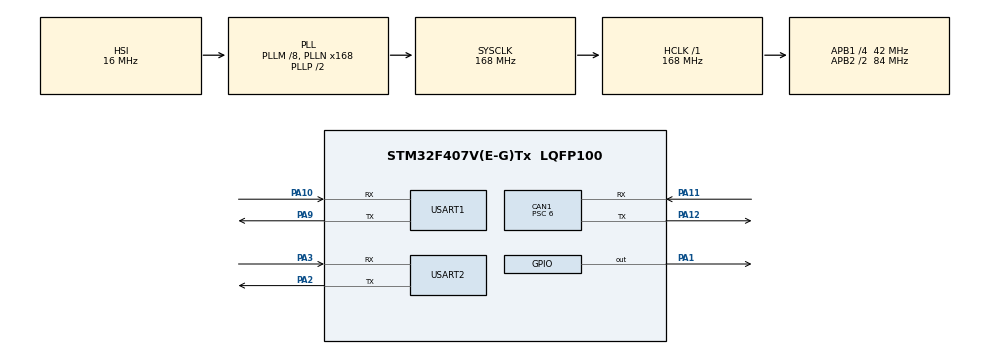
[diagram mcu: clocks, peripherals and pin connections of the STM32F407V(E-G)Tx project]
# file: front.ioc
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CAN1.BS1=CAN_BS1_5TQ
CAN1.CalculateBaudRate=1000000
CAN1.CalculateTimeBit=1000
CAN1.CalculateTimeQuantum=142.85714285714286
CAN1.Prescaler=6
Dma.Request0=USART1_RX
Dma.Request1=USART1_TX
Dma.USART1_RX.0.Direction=DMA_PERIPH_TO_MEMORY
Dma.USART1_RX.0.FIFOMode=DMA_FIFOMODE_DISABLE
Dma.USART1_RX.0.Instance=DMA2_Stream2
Dma.USART1_RX.0.MemDataAlignment=DMA_MDATAALIGN_BYTE
Dma.USART1_RX.0.MemInc=DMA_MINC_ENABLE
Dma.USART1_RX.0.Mode=DMA_NORMAL
Dma.USART1_RX.0.PeriphDataAlignment=DMA_PDATAALIGN_BYTE
Dma.USART1_RX.0.PeriphInc=DMA_PINC_DISABLE
Dma.USART1_RX.0.Priority=DMA_PRIORITY_LOW
Dma.USART1_TX.1.Direction=DMA_MEMORY_TO_PERIPH
Dma.USART1_TX.1.FIFOMode=DMA_FIFOMODE_DISABLE
Dma.USART1_TX.1.Instance=DMA2_Stream7
Dma.USART1_TX.1.MemDataAlignment=DMA_MDATAALIGN_BYTE
Dma.USART1_TX.1.MemInc=DMA_MINC_ENABLE
Dma.USART1_TX.1.Mode=DMA_NORMAL
Dma.USART1_TX.1.PeriphDataAlignment=DMA_PDATAALIGN_BYTE
Dma.USART1_TX.1.PeriphInc=DMA_PINC_DISABLE
Dma.USART1_TX.1.Priority=DMA_PRIORITY_LOW
Mcu.Family=STM32F4
Mcu.Name=STM32F407V(E-G)Tx
Mcu.Package=LQFP100
NVIC.CAN1_RX0_IRQn=true\:1\:0\:true\:false\:true\:true\:true\:true
NVIC.DMA2_Stream2_IRQn=true\:0\:0\:false\:false\:true\:false\:true\:true
NVIC.DMA2_Stream7_IRQn=true\:0\:0\:false\:false\:true\:false\:true\:true
NVIC.PriorityGroup=NVIC_PRIORITYGROUP_4
NVIC.TIM1_UP_TIM10_IRQn=true\:2\:0\:true\:false\:true\:true\:true\:true
NVIC.USART1_IRQn=true\:0\:0\:false\:false\:true\:true\:true\:true
PA1.GPIO_PuPd=GPIO_PULLUP
PA1.PinState=GPIO_PIN_SET
PA1.Signal=GPIO_Output
PA10.Mode=Asynchronous
PA10.Signal=USART1_RX
PA11.Mode=CAN_Activate
PA11.Signal=CAN1_RX
PA12.Mode=CAN_Activate
PA12.Signal=CAN1_TX
PA13.Mode=Serial_Wire
PA13.Signal=SYS_JTMS-SWDIO
PA14.Mode=Serial_Wire
PA14.Signal=SYS_JTCK-SWCLK
PA2.Mode=Asynchronous
PA2.Signal=USART2_TX
PA3.Mode=Asynchronous
PA3.Signal=USART2_RX
PA9.Mode=Asynchronous
PA9.Signal=USART1_TX
PH0-OSC_IN.Mode=HSE-External-Oscillator
PH0-OSC_IN.Signal=RCC_OSC_IN
PH1-OSC_OUT.Mode=HSE-External-Oscillator
PH1-OSC_OUT.Signal=RCC_OSC_OUT
ProjectManager.HeapSize=0x200
ProjectManager.StackSize=0x400
ProjectManager.TargetToolchain=MDK-ARM V5.32
RCC.48MHZClocksFreq_Value=84000000
RCC.AHBFreq_Value=168000000
RCC.APB1CLKDivider=RCC_HCLK_DIV4
RCC.APB1Freq_Value=42000000
RCC.APB1TimFreq_Value=84000000
RCC.APB2CLKDivider=RCC_HCLK_DIV2
RCC.APB2Freq_Value=84000000
RCC.APB2TimFreq_Value=168000000
RCC.CortexFreq_Value=168000000
RCC.HCLKFreq_Value=168000000
RCC.HSE_VALUE=8000000
RCC.HSI_VALUE=16000000
RCC.LSE_VALUE=32768
RCC.PLLM=8
RCC.PLLN=168
RCC.SYSCLKFreq_VALUE=168000000
RCC.SYSCLKSource=RCC_SYSCLKSOURCE_PLLCLK
RCC.VCOOutputFreq_Value=336000000
TIM1.Period=500-1
TIM1.Prescaler=1680-1
USART1.VirtualMode=VM_ASYNC
USART2.VirtualMode=VM_ASYNC
VP_TIM1_VS_ClockSourceINT.Mode=Internal
board=custom

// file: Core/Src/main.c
/* USER CODE BEGIN Header */
/**
  ******************************************************************************
  * @file           : main.c
  * @brief          : Main program body
  ******************************************************************************
  * @attention
  *
  * Copyright (c) 2025 STMicroelectronics.
  * All rights reserved.
  *
  * This software is licensed under terms that can be found in the LICENSE file
  * in the root directory of this software component.
  * If no LICENSE file comes with this software, it is provided AS-IS.
  *
  ******************************************************************************
  */
/* USER CODE END Header */
#include "main.h"
#include "can.h"
#include "dma.h"
#include "tim.h"
#include "usart.h"
#include "gpio.h"

/* USER CODE BEGIN Includes */
#include "Caculate.h"
#include "DJI.h"
#include "stdlib.h"
#include "string.h"
#include "ctype.h"
#include "wtr_can.h"
#include "wtr_uart.h"
#include "M2006.h"
#include "servo_SM40BL.h"
/* USER CODE END Includes */

/* USER CODE BEGIN PV */
uint8_t receiveData[10];
uint8_t receive_flag = '0';
double ref2;
double ref1;
uint8_t rx_done = 0;//接收完成标志�?
uint8_t tx_once_flag = 0;//发鿁�?验标志位
int M2006flag=0,servo=0,servorun_flag=0;
/* USER CODE END PV */

void SystemClock_Config(void);

int main(void)
{

  /* MCU Configuration--------------------------------------------------------*/

  /* Reset of all peripherals, Initializes the Flash interface and the Systick. */
  HAL_Init();

  /* Configure the system clock */
  SystemClock_Config();

  /* Initialize all configured peripherals */
  MX_GPIO_Init();
  MX_DMA_Init();
  MX_USART1_UART_Init();
  MX_USART2_UART_Init();
  MX_CAN1_Init();
  MX_TIM1_Init();
  /* USER CODE BEGIN 2 */
	CANFilterInit(&hcan1);//用于初始化can1总线、开启过滤器，无法使用can2
	M2006_init();
HAL_UARTEx_ReceiveToIdle_DMA(&huart1,receiveData,10);
__HAL_DMA_DISABLE_IT(&hdma_usart1_rx,DMA_IT_HT);
HAL_TIM_Base_Init(&htim1);
HAL_TIM_Base_Start_IT(&htim1);
HAL_GPIO_WritePin(GPIOA,GPIO_PIN_1,GPIO_PIN_SET);
  /* USER CODE END 2 */

  /* Infinite loop */
  /* USER CODE BEGIN WHILE */
  while (1)
  {
		if(receive_flag=='s'){
			M2006flag=1;
			ref1=-2;
			servo1_maxspeed_to_direction_cm(2);//用于提升前爪离地
			HAL_GPIO_WritePin(GPIOA,GPIO_PIN_1,GPIO_PIN_SET);
			HAL_UART_Transmit(&huart1,"1\r\n",3,0xff);
			receive_flag='0';
		}else if(rx_done == 1 && receive_flag == 'h')//发鿁新位置要求，重置当前位置计箿horizontal
		{
//			place.byte[0] = rx_buffer[1];
//			place.byte[1] = rx_buffer[2];
//			place.byte[2] = rx_buffer[3];
//			place.byte[3] = rx_buffer[4];
			//set_M2006_position_cm(ref);
			rx_done = 0;
			tx_once_flag = 1;//丿次接收后只进行�0?次回�?
			receiveData[0]='0';
			receive_flag='0';
		}else if(rx_done == 1 && receive_flag == 'v'){//vertical
	    servo1_maxspeed_to_direction_cm(ref2);//发鿁距离地面Xcm
			receiveData[0]='0';
			receive_flag='0';
			rx_done = 0;
	  }
//		servorun_flag=servo1_is_run();
//		if(servorun_flag!=1&&servo==1){
//			HAL_GPIO_WritePin(GPIOA,GPIO_PIN_1,GPIO_PIN_SET);
//
//			servo=0;
//		}

		if(M2006_done() == 1 && tx_once_flag == 1)//到位
		{
			HAL_GPIO_WritePin(GPIOA,GPIO_PIN_1,GPIO_PIN_SET);
			HAL_UART_Transmit(&huart1,"1\r\n",3,0xff);
			tx_once_flag = 0;//复位tx_once_flag
		}
//		HAL_Delay(5);// 循环时间，确定PID频率与发送频�?	反馈信息有直接鿟度数�?

    /* USER CODE END WHILE */

  }
}

void SystemClock_Config(void)
{
  RCC_OscInitTypeDef RCC_OscInitStruct = {0};
  RCC_ClkInitTypeDef RCC_ClkInitStruct = {0};

  /** Configure the main internal regulator output voltage
  */
  __HAL_RCC_PWR_CLK_ENABLE();
  __HAL_PWR_VOLTAGESCALING_CONFIG(PWR_REGULATOR_VOLTAGE_SCALE1);

  /** Initializes the RCC Oscillators according to the specified parameters
  * in the RCC_OscInitTypeDef structure.
  */
  RCC_OscInitStruct.OscillatorType = RCC_OSCILLATORTYPE_HSI;
  RCC_OscInitStruct.HSIState = RCC_HSI_ON;
  RCC_OscInitStruct.HSICalibrationValue = RCC_HSICALIBRATION_DEFAULT;
  RCC_OscInitStruct.PLL.PLLState = RCC_PLL_ON;
  RCC_OscInitStruct.PLL.PLLSource = RCC_PLLSOURCE_HSI;
  RCC_OscInitStruct.PLL.PLLM = 8;
  RCC_OscInitStruct.PLL.PLLN = 168;
  RCC_OscInitStruct.PLL.PLLP = RCC_PLLP_DIV2;
  RCC_OscInitStruct.PLL.PLLQ = 4;
  if (HAL_RCC_OscConfig(&RCC_OscInitStruct) != HAL_OK)
  {
    Error_Handler();
  }

  /** Initializes the CPU, AHB and APB buses clocks
  */
  RCC_ClkInitStruct.ClockType = RCC_CLOCKTYPE_HCLK|RCC_CLOCKTYPE_SYSCLK
                              |RCC_CLOCKTYPE_PCLK1|RCC_CLOCKTYPE_PCLK2;
  RCC_ClkInitStruct.SYSCLKSource = RCC_SYSCLKSOURCE_PLLCLK;
  RCC_ClkInitStruct.AHBCLKDivider = RCC_SYSCLK_DIV1;
  RCC_ClkInitStruct.APB1CLKDivider = RCC_HCLK_DIV4;
  RCC_ClkInitStruct.APB2CLKDivider = RCC_HCLK_DIV2;

  if (HAL_RCC_ClockConfig(&RCC_ClkInitStruct, FLASH_LATENCY_5) != HAL_OK)
  {
    Error_Handler();
  }
}

/* USER CODE BEGIN 4 */
void HAL_TIM_PeriodElapsedCallback(TIM_HandleTypeDef *htim){
	if(htim==&htim1){
	  set_M2006_position_cm(ref1);

		CanTransmit_DJI_1234(&hcan1,hDJI[0].speedPID.output,hDJI[1].speedPID.output,hDJI[2].speedPID.output,hDJI[3].speedPID.output); // 自行选择霿要的电机ID填入

	}
}
void HAL_UARTEx_RxEventCallback(UART_HandleTypeDef* huart,uint16_t Size){
	if(huart==&huart1){//第一位设为标志位
		HAL_GPIO_WritePin(GPIOA,GPIO_PIN_1,GPIO_PIN_RESET);
		rx_done=1;
		receive_flag = receiveData[0];
		if(receive_flag=='h'){
			ref1=atof(&receiveData[1]);
		}
		if(receive_flag=='v'){
			ref2=atof(&receiveData[1]);
		}

		HAL_UARTEx_ReceiveToIdle_DMA(&huart1,receiveData,10);
		__HAL_DMA_DISABLE_IT(&hdma_usart1_rx,DMA_IT_HT);
	}
}
/* USER CODE END 4 */

void Error_Handler(void)
{
  __disable_irq();
  while (1)
  {
  }
}
